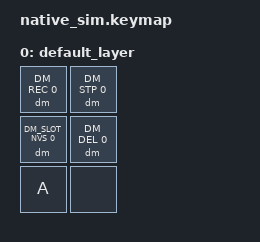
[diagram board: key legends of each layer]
#include <dt-bindings/zmk/keys.h>
#include <behaviors.dtsi>
#include <dt-bindings/zmk/kscan_mock.h>
#include <behaviors/dynamic_macro.dtsi>
#include <dt-bindings/zmk/dynamic_macros.h>

/*
 * NVS-delete notification coverage (the NVS snapshot cases run FEEDBACK_OFF
 * *without* EVENTS, so the NVS×notification path needs its own case). Records one
 * event into an NVS slot, assigns it, then deletes it, watching the dm_event
 * notification stream.
 *
 * The invariant under test: a persisted (NVS) delete raises DELETED (type=3)
 * EXACTLY ONCE, deferred to the async storage completion — not once
 * optimistically at the command and again on completion. Flash is process-private
 * (--flash_in_ram, defaulted by the module Kconfig under TEST_RELOAD), so no
 * shared-residue clear is needed.
 *
 * Key layout (3 rows x 2 cols):
 *   (0,0)=REC        (0,1)=STP
 *   (1,0)=NVS slot 0 (1,1)=DEL
 *   (2,0)=A          (2,1)=none
 */

&kscan {
    rows = <3>;
    columns = <2>;
    exit-after;
    events = <
        /* REC */
        ZMK_MOCK_PRESS(0,0,10)
        ZMK_MOCK_RELEASE(0,0,10)
        /* A (recorded) */
        ZMK_MOCK_PRESS(2,0,10)
        ZMK_MOCK_RELEASE(2,0,10)
        /* STP */
        ZMK_MOCK_PRESS(0,1,10)
        ZMK_MOCK_RELEASE(0,1,10)
        /* NVS slot 0 (assign) */
        ZMK_MOCK_PRESS(1,0,500)
        ZMK_MOCK_RELEASE(1,0,10)
        /* DEL (enter delete mode) */
        ZMK_MOCK_PRESS(1,1,10)
        ZMK_MOCK_RELEASE(1,1,10)
        /* NVS slot 0 (delete) — the async erase needs time to settle, so the
         * deferred DELETED lands within this 1000ms window */
        ZMK_MOCK_PRESS(1,0,1000)
        ZMK_MOCK_RELEASE(1,0,10)
    >;
};

/ {
    keymap {
        compatible = "zmk,keymap";
        default_layer {
            bindings = <
                &dm DM_REC 0      &dm DM_STP 0
                &dm DM_SLOT_NVS 0 &dm DM_DEL 0
                &kp A             &none
            >;
        };
    };
};
